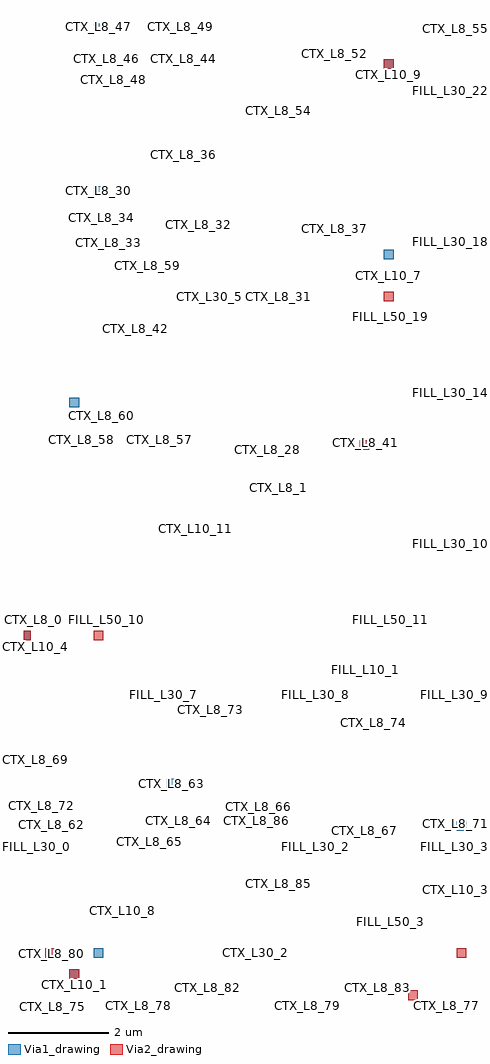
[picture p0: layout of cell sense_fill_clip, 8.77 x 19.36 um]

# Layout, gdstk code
import gdstk
lib = gdstk.Library(unit=1e-6, precision=1e-09)
def R(c, l, rs):  # rectangles x0, y0, x1, y1
    for r in rs: c.add(gdstk.rectangle(r[:2], r[2:], *l))
Via1_drawing = (19, 0)
Via2_drawing = (29, 0)

sense_fill_clip = lib.new_cell('sense_fill_clip')
R(sense_fill_clip, Via1_drawing, [(709.625,696.865,709.815,697.055), (709.145,697.285,709.335,697.475), (710.105,697.285,710.295,697.475), (717.305,699.805,717.495,699.995), (711.545,700.645,711.735,700.835), (708.72,703.585,708.855,703.775), (715.385,707.365,715.575,707.555), (709.625,708.205,709.815,708.395), (715.865,711.145,716.055,711.335), (710.105,712.405,710.295,712.595), (715.865,714.925,716.055,715.115), (710.105,715.765,710.295,715.81)])
R(sense_fill_clip, Via2_drawing, [(716.345,696.445,716.535,696.635), (709.625,696.865,709.815,697.055), (709.145,697.285,709.335,697.475), (717.305,697.285,717.495,697.475), (708.72,703.585,708.855,703.775), (710.105,703.585,710.295,703.775), (715.385,707.365,715.575,707.555), (715.865,710.305,716.055,710.495), (715.865,714.925,716.055,715.115)])
sense_fill_clip.add(gdstk.Label('CTX_L8_98', (749.36,698.06), layer=8, texttype=25))
sense_fill_clip.add(gdstk.Label('CTX_L8_105', (756.41,701.58), layer=8, texttype=25))
sense_fill_clip.add(gdstk.Label('CTX_L8_2', (737.85,705.81), layer=8, texttype=25))
sense_fill_clip.add(gdstk.Label('CTX_L8_108', (753.72,699.82), layer=8, texttype=25))
sense_fill_clip.add(gdstk.Label('CTX_L8_107', (749.36,699.82), layer=8, texttype=25))
sense_fill_clip.add(gdstk.Label('CTX_L8_102', (745,701.58), layer=8, texttype=25))
sense_fill_clip.add(gdstk.Label('CTX_L8_92', (745,696.3), layer=8, texttype=25))
sense_fill_clip.add(gdstk.Label('CTX_L8_87', (756.41,696.3), layer=8, texttype=25))
sense_fill_clip.add(gdstk.Label('CTX_L8_104', (753.72,701.58), layer=8, texttype=25))
sense_fill_clip.add(gdstk.Label('CTX_L8_90', (753.72,703.34), layer=8, texttype=25))
sense_fill_clip.add(gdstk.Label('CTX_L8_95', (753.72,705.1), layer=8, texttype=25))
sense_fill_clip.add(gdstk.Label('CTX_L8_94', (749.36,705.1), layer=8, texttype=25))
sense_fill_clip.add(gdstk.Label('CTX_L8_100', (756.41,698.06), layer=8, texttype=25))
sense_fill_clip.add(gdstk.Label('CTX_L8_82', (712.367,696.697), layer=8, texttype=25))
sense_fill_clip.add(gdstk.Label('CTX_L8_78', (710.995,696.332), layer=8, texttype=25))
sense_fill_clip.add(gdstk.Label('CTX_L8_73', (712.427,702.215), layer=8, texttype=25))
sense_fill_clip.add(gdstk.Label('CTX_L8_74', (715.662,701.952), layer=8, texttype=25))
sense_fill_clip.add(gdstk.Label('FILL_L8_4', (726.75,701.75), layer=8, texttype=25))
sense_fill_clip.add(gdstk.Label('CTX_L8_66', (713.385,700.29), layer=8, texttype=25))
sense_fill_clip.add(gdstk.Label('CTX_L8_64', (711.792,700.01), layer=8, texttype=25))
sense_fill_clip.add(gdstk.Label('CTX_L8_69', (708.877,701.212), layer=8, texttype=25))
sense_fill_clip.add(gdstk.Label('CTX_L8_72', (709.06,700.3), layer=8, texttype=25))
sense_fill_clip.add(gdstk.Label('CTX_L8_65', (711.22,699.582), layer=8, texttype=25))
sense_fill_clip.add(gdstk.Label('CTX_L8_0', (708.902,703.995), layer=8, texttype=25))
sense_fill_clip.add(gdstk.Label('CTX_L8_85', (713.78,698.75), layer=8, texttype=25))
sense_fill_clip.add(gdstk.Label('CTX_L8_63', (711.64,700.74), layer=8, texttype=25))
sense_fill_clip.add(gdstk.Label('CTX_L8_80', (709.275,697.375), layer=8, texttype=25))
sense_fill_clip.add(gdstk.Label('FILL_L8_2', (731.75,697.155), layer=8, texttype=25))
sense_fill_clip.add(gdstk.Label('FILL_L8_1', (726.75,697.155), layer=8, texttype=25))
sense_fill_clip.add(gdstk.Label('FILL_L8_0', (721.75,697.155), layer=8, texttype=25))
sense_fill_clip.add(gdstk.Label('CTX_L8_77', (717.115,696.33), layer=8, texttype=25))
sense_fill_clip.add(gdstk.Label('CTX_L8_79', (714.355,696.332), layer=8, texttype=25))
sense_fill_clip.add(gdstk.Label('CTX_L8_57', (711.41,707.57), layer=8, texttype=25))
sense_fill_clip.add(gdstk.Label('CTX_L8_60', (710.26,708.052), layer=8, texttype=25))
sense_fill_clip.add(gdstk.Label('FILL_L8_14', (731.75,715.405), layer=8, texttype=25))
sense_fill_clip.add(gdstk.Label('FILL_L8_5', (731.75,701.75), layer=8, texttype=25))
sense_fill_clip.add(gdstk.Label('FILL_L8_13', (726.75,715.405), layer=8, texttype=25))
sense_fill_clip.add(gdstk.Label('FILL_L8_12', (721.75,715.405), layer=8, texttype=25))
sense_fill_clip.add(gdstk.Label('CTX_L8_81', (710.172,697.375), layer=8, texttype=25))
sense_fill_clip.add(gdstk.Label('CTX_L8_55', (717.675,715.73), layer=8, texttype=25))
sense_fill_clip.add(gdstk.Label('CTX_L8_52', (714.885,715.217), layer=8, texttype=25))
sense_fill_clip.add(gdstk.Label('CTX_L8_37', (714.885,711.747), layer=8, texttype=25))
sense_fill_clip.add(gdstk.Label('CTX_L8_96', (756.41,705.1), layer=8, texttype=25))
sense_fill_clip.add(gdstk.Label('CTX_L8_26', (753.72,715.66), layer=8, texttype=25))
sense_fill_clip.add(gdstk.Label('CTX_L8_110', (753.72,696.3), layer=8, texttype=25))
sense_fill_clip.add(gdstk.Label('CTX_L8_13', (756.41,710.38), layer=8, texttype=25))
sense_fill_clip.add(gdstk.Label('CTX_L8_34', (710.252,711.98), layer=8, texttype=25))
sense_fill_clip.add(gdstk.Label('CTX_L8_38', (715.982,711.555), layer=8, texttype=25))
sense_fill_clip.add(gdstk.Label('CTX_L8_101', (749.36,696.3), layer=8, texttype=25))
sense_fill_clip.add(gdstk.Label('CTX_L8_59', (711.18,711.025), layer=8, texttype=25))
sense_fill_clip.add(gdstk.Label('CTX_L8_6', (745,708.62), layer=8, texttype=25))
sense_fill_clip.add(gdstk.Label('CTX_L8_83', (715.727,696.697), layer=8, texttype=25))
sense_fill_clip.add(gdstk.Label('CTX_L8_25', (749.36,715.66), layer=8, texttype=25))
sense_fill_clip.add(gdstk.Label('CTX_L8_68', (710.4,700.11), layer=8, texttype=25))
sense_fill_clip.add(gdstk.Label('CTX_L8_21', (756.41,713.9), layer=8, texttype=25))
sense_fill_clip.add(gdstk.Label('CTX_L8_24', (745,715.66), layer=8, texttype=25))
sense_fill_clip.add(gdstk.Label('CTX_L8_93', (745,705.1), layer=8, texttype=25))
sense_fill_clip.add(gdstk.Label('CTX_L8_16', (753.72,712.14), layer=8, texttype=25))
sense_fill_clip.add(gdstk.Label('CTX_L8_14', (745,712.14), layer=8, texttype=25))
sense_fill_clip.add(gdstk.Label('FILL_L8_9', (721.75,711.75), layer=8, texttype=25))
sense_fill_clip.add(gdstk.Label('CTX_L8_41', (715.492,707.51), layer=8, texttype=25))
sense_fill_clip.add(gdstk.Label('CTX_L8_47', (710.2,715.755), layer=8, texttype=25))
sense_fill_clip.add(gdstk.Label('CTX_L8_33', (710.392,711.465), layer=8, texttype=25))
sense_fill_clip.add(gdstk.Label('CTX_L8_17', (756.41,712.14), layer=8, texttype=25))
sense_fill_clip.add(gdstk.Label('CTX_L8_97', (745,698.06), layer=8, texttype=25))
sense_fill_clip.add(gdstk.Label('CTX_L8_9', (756.41,708.62), layer=8, texttype=25))
sense_fill_clip.add(gdstk.Label('CTX_L8_76', (713.755,696.33), layer=8, texttype=25))
sense_fill_clip.add(gdstk.Label('CTX_L8_23', (753.72,706.86), layer=8, texttype=25))
sense_fill_clip.add(gdstk.Label('CTX_L8_103', (749.36,701.58), layer=8, texttype=25))
sense_fill_clip.add(gdstk.Label('CTX_L8_18', (745,713.9), layer=8, texttype=25))
sense_fill_clip.add(gdstk.Label('CTX_L8_19', (749.36,713.9), layer=8, texttype=25))
sense_fill_clip.add(gdstk.Label('CTX_L8_71', (717.412,699.95), layer=8, texttype=25))
sense_fill_clip.add(gdstk.Label('CTX_L8_1', (713.78,706.617), layer=8, texttype=25))
sense_fill_clip.add(gdstk.Label('CTX_L8_44', (711.89,715.13), layer=8, texttype=25))
sense_fill_clip.add(gdstk.Label('CTX_L8_88', (745,703.34), layer=8, texttype=25))
sense_fill_clip.add(gdstk.Label('CTX_L8_7', (749.36,708.62), layer=8, texttype=25))
sense_fill_clip.add(gdstk.Label('CTX_L8_86', (713.33,700.01), layer=8, texttype=25))
sense_fill_clip.add(gdstk.Label('CTX_L8_8', (753.72,708.62), layer=8, texttype=25))
sense_fill_clip.add(gdstk.Label('CTX_L8_53', (715.972,715.29), layer=8, texttype=25))
sense_fill_clip.add(gdstk.Label('CTX_L8_20', (753.72,713.9), layer=8, texttype=25))
sense_fill_clip.add(gdstk.Label('CTX_L8_27', (756.41,715.66), layer=8, texttype=25))
sense_fill_clip.add(gdstk.Label('CTX_L8_5', (745,706.86), layer=8, texttype=25))
sense_fill_clip.add(gdstk.Label('CTX_L8_62', (709.272,699.932), layer=8, texttype=25))
sense_fill_clip.add(gdstk.Label('CTX_L8_51', (714.087,715.307), layer=8, texttype=25))
sense_fill_clip.add(gdstk.Label('CTX_L8_58', (709.872,707.57), layer=8, texttype=25))
sense_fill_clip.add(gdstk.Label('CTX_L8_10', (745,710.38), layer=8, texttype=25))
sense_fill_clip.add(gdstk.Label('CTX_L8_30', (710.2,712.5), layer=8, texttype=25))
sense_fill_clip.add(gdstk.Label('CTX_L8_11', (749.36,710.38), layer=8, texttype=25))
sense_fill_clip.add(gdstk.Label('CTX_L8_12', (753.72,710.38), layer=8, texttype=25))
sense_fill_clip.add(gdstk.Label('CTX_L8_31', (713.78,710.4), layer=8, texttype=25))
sense_fill_clip.add(gdstk.Label('CTX_L8_61', (711.465,707.85), layer=8, texttype=25))
sense_fill_clip.add(gdstk.Label('FILL_L8_11', (731.75,711.75), layer=8, texttype=25))
sense_fill_clip.add(gdstk.Label('CTX_L8_75', (709.29,696.325), layer=8, texttype=25))
sense_fill_clip.add(gdstk.Label('FILL_L8_6', (721.75,706.75), layer=8, texttype=25))
sense_fill_clip.add(gdstk.Label('FILL_L8_7', (726.75,706.75), layer=8, texttype=25))
sense_fill_clip.add(gdstk.Label('CTX_L8_84', (710.17,696.262), layer=8, texttype=25))
sense_fill_clip.add(gdstk.Label('FILL_L8_8', (731.75,706.75), layer=8, texttype=25))
sense_fill_clip.add(gdstk.Label('CTX_L8_91', (756.41,703.34), layer=8, texttype=25))
sense_fill_clip.add(gdstk.Label('CTX_L8_46', (710.352,715.13), layer=8, texttype=25))
sense_fill_clip.add(gdstk.Label('CTX_L8_56', (709.72,708.3), layer=8, texttype=25))
sense_fill_clip.add(gdstk.Label('CTX_L8_106', (745,699.82), layer=8, texttype=25))
sense_fill_clip.add(gdstk.Label('CTX_L8_89', (749.36,703.34), layer=8, texttype=25))
sense_fill_clip.add(gdstk.Label('CTX_L8_40', (714.405,707.657), layer=8, texttype=25))
sense_fill_clip.add(gdstk.Label('CTX_L8_48', (710.5,714.702), layer=8, texttype=25))
sense_fill_clip.add(gdstk.Label('CTX_L8_39', (711.32,712.105), layer=8, texttype=25))
sense_fill_clip.add(gdstk.Label('CTX_L8_67', (715.475,699.815), layer=8, texttype=25))
sense_fill_clip.add(gdstk.Label('CTX_L8_4', (756.41,706.86), layer=8, texttype=25))
sense_fill_clip.add(gdstk.Label('CTX_L8_36', (711.89,713.23), layer=8, texttype=25))
sense_fill_clip.add(gdstk.Label('CTX_L8_28', (713.555,707.375), layer=8, texttype=25))
sense_fill_clip.add(gdstk.Label('CTX_L8_29', (711.357,708.275), layer=8, texttype=25))
sense_fill_clip.add(gdstk.Label('CTX_L8_32', (712.192,711.825), layer=8, texttype=25))
sense_fill_clip.add(gdstk.Label('CTX_L8_70', (716.325,700.097), layer=8, texttype=25))
sense_fill_clip.add(gdstk.Label('CTX_L8_54', (713.78,714.092), layer=8, texttype=25))
sense_fill_clip.add(gdstk.Label('CTX_L8_35', (713.68,711.922), layer=8, texttype=25))
sense_fill_clip.add(gdstk.Label('CTX_L8_43', (708.767,707.67), layer=8, texttype=25))
sense_fill_clip.add(gdstk.Label('CTX_L8_3', (741.35,705.81), layer=8, texttype=25))
sense_fill_clip.add(gdstk.Label('CTX_L8_42', (710.94,709.775), layer=8, texttype=25))
sense_fill_clip.add(gdstk.Label('CTX_L8_109', (756.41,699.82), layer=8, texttype=25))
sense_fill_clip.add(gdstk.Label('CTX_L8_45', (709.007,715.23), layer=8, texttype=25))
sense_fill_clip.add(gdstk.Label('FILL_L8_3', (721.75,701.75), layer=8, texttype=25))
sense_fill_clip.add(gdstk.Label('CTX_L8_15', (749.36,712.14), layer=8, texttype=25))
sense_fill_clip.add(gdstk.Label('CTX_L8_22', (749.36,706.86), layer=8, texttype=25))
sense_fill_clip.add(gdstk.Label('FILL_L8_10', (726.75,711.75), layer=8, texttype=25))
sense_fill_clip.add(gdstk.Label('CTX_L8_49', (711.837,715.757), layer=8, texttype=25))
sense_fill_clip.add(gdstk.Label('CTX_L8_99', (753.72,698.06), layer=8, texttype=25))
sense_fill_clip.add(gdstk.Label('CTX_L8_50', (712.695,715.567), layer=8, texttype=25))
sense_fill_clip.add(gdstk.Label('FILL_L10_11', (721.75,715.405), layer=10, texttype=25))
sense_fill_clip.add(gdstk.Label('CTX_L10_9', (715.96,714.807), layer=10, texttype=25))
sense_fill_clip.add(gdstk.Label('CTX_L10_6', (715.48,707.247), layer=10, texttype=25))
sense_fill_clip.add(gdstk.Label('FILL_L10_2', (718,703), layer=10, texttype=25))
sense_fill_clip.add(gdstk.Label('CTX_L10_17', (732.48,705.81), layer=10, texttype=25))
sense_fill_clip.add(gdstk.Label('CTX_L10_11', (712.12,705.81), layer=10, texttype=25))
sense_fill_clip.add(gdstk.Label('CTX_L10_12', (713.56,705.81), layer=10, texttype=25))
sense_fill_clip.add(gdstk.Label('FILL_L10_1', (715.5,703), layer=10, texttype=25))
sense_fill_clip.add(gdstk.Label('CTX_L10_3', (717.4,698.64), layer=10, texttype=25))
sense_fill_clip.add(gdstk.Label('CTX_L10_8', (710.68,698.225), layer=10, texttype=25))
sense_fill_clip.add(gdstk.Label('CTX_L10_0', (716.44,696.247), layer=10, texttype=25))
sense_fill_clip.add(gdstk.Label('FILL_L10_5', (718,708), layer=10, texttype=25))
sense_fill_clip.add(gdstk.Label('FILL_L10_0', (721.75,697.155), layer=10, texttype=25))
sense_fill_clip.add(gdstk.Label('CTX_L10_7', (715.96,710.82), layer=10, texttype=25))
sense_fill_clip.add(gdstk.Label('CTX_L10_5', (710.2,700.53), layer=10, texttype=25))
sense_fill_clip.add(gdstk.Label('CTX_L10_15', (731.52,705.81), layer=10, texttype=25))
sense_fill_clip.add(gdstk.Label('FILL_L10_9', (721.75,711.75), layer=10, texttype=25))
sense_fill_clip.add(gdstk.Label('FILL_L10_3', (721.75,701.75), layer=10, texttype=25))
sense_fill_clip.add(gdstk.Label('CTX_L10_1', (709.72,696.747), layer=10, texttype=25))
sense_fill_clip.add(gdstk.Label('CTX_L10_18', (735.36,705.81), layer=10, texttype=25))
sense_fill_clip.add(gdstk.Label('FILL_L10_6', (721.75,706.75), layer=10, texttype=25))
sense_fill_clip.add(gdstk.Label('CTX_L10_4', (708.792,703.467), layer=10, texttype=25))
sense_fill_clip.add(gdstk.Label('FILL_L10_4', (718,705.5), layer=10, texttype=25))
sense_fill_clip.add(gdstk.Label('CTX_L10_13', (727.2,705.81), layer=10, texttype=25))
sense_fill_clip.add(gdstk.Label('CTX_L10_14', (730.56,705.81), layer=10, texttype=25))
sense_fill_clip.add(gdstk.Label('FILL_L10_10', (718,715.405), layer=10, texttype=25))
sense_fill_clip.add(gdstk.Label('CTX_L10_16', (732,705.81), layer=10, texttype=25))
sense_fill_clip.add(gdstk.Label('CTX_L10_10', (709.96,715.762), layer=10, texttype=25))
sense_fill_clip.add(gdstk.Label('CTX_L10_19', (736.32,705.81), layer=10, texttype=25))
sense_fill_clip.add(gdstk.Label('CTX_L10_2', (709.24,697.167), layer=10, texttype=25))
sense_fill_clip.add(gdstk.Label('FILL_L10_7', (718,710.5), layer=10, texttype=25))
sense_fill_clip.add(gdstk.Label('FILL_L10_8', (718,713), layer=10, texttype=25))
sense_fill_clip.add(gdstk.Label('FILL_L30_24', (728,714.905), layer=30, texttype=25))
sense_fill_clip.add(gdstk.Label('FILL_L30_23', (722,714.905), layer=30, texttype=25))
sense_fill_clip.add(gdstk.Label('CTX_L30_6', (712.412,715.02), layer=30, texttype=25))
sense_fill_clip.add(gdstk.Label('FILL_L30_7', (711.5,702.5), layer=30, texttype=25))
sense_fill_clip.add(gdstk.Label('FILL_L30_6', (734,698), layer=30, texttype=25))
sense_fill_clip.add(gdstk.Label('FILL_L30_3', (717.5,699.5), layer=30, texttype=25))
sense_fill_clip.add(gdstk.Label('FILL_L30_5', (728,698), layer=30, texttype=25))
sense_fill_clip.add(gdstk.Label('FILL_L30_8', (714.5,702.5), layer=30, texttype=25))
sense_fill_clip.add(gdstk.Label('FILL_L30_22', (717.5,714.5), layer=30, texttype=25))
sense_fill_clip.add(gdstk.Label('FILL_L30_4', (722,698), layer=30, texttype=25))
sense_fill_clip.add(gdstk.Label('FILL_L30_10', (717.5,705.5), layer=30, texttype=25))
sense_fill_clip.add(gdstk.Label('FILL_L30_18', (717.5,711.5), layer=30, texttype=25))
sense_fill_clip.add(gdstk.Label('FILL_L30_2', (714.5,699.5), layer=30, texttype=25))
sense_fill_clip.add(gdstk.Label('FILL_L30_17', (714.5,711.5), layer=30, texttype=25))
sense_fill_clip.add(gdstk.Label('FILL_L30_1', (711.5,699.5), layer=30, texttype=25))
sense_fill_clip.add(gdstk.Label('FILL_L30_12', (728,704), layer=30, texttype=25))
sense_fill_clip.add(gdstk.Label('FILL_L30_16', (711.5,711.5), layer=30, texttype=25))
sense_fill_clip.add(gdstk.Label('CTX_L30_2', (713.32,697.38), layer=30, texttype=25))
sense_fill_clip.add(gdstk.Label('FILL_L30_25', (734,714.905), layer=30, texttype=25))
sense_fill_clip.add(gdstk.Label('CTX_L30_3', (709.532,703.68), layer=30, texttype=25))
sense_fill_clip.add(gdstk.Label('CTX_L30_0', (712.652,696.54), layer=30, texttype=25))
sense_fill_clip.add(gdstk.Label('FILL_L30_0', (708.86,699.5), layer=30, texttype=25))
sense_fill_clip.add(gdstk.Label('CTX_L30_1', (709.292,696.96), layer=30, texttype=25))
sense_fill_clip.add(gdstk.Label('FILL_L30_20', (728,710), layer=30, texttype=25))
sense_fill_clip.add(gdstk.Label('FILL_L30_9', (717.5,702.5), layer=30, texttype=25))
sense_fill_clip.add(gdstk.Label('FILL_L30_11', (722,704), layer=30, texttype=25))
sense_fill_clip.add(gdstk.Label('FILL_L30_13', (734,704), layer=30, texttype=25))
sense_fill_clip.add(gdstk.Label('CTX_L30_4', (712.172,707.46), layer=30, texttype=25))
sense_fill_clip.add(gdstk.Label('CTX_L30_5', (712.412,710.4), layer=30, texttype=25))
sense_fill_clip.add(gdstk.Label('FILL_L30_14', (717.5,708.5), layer=30, texttype=25))
sense_fill_clip.add(gdstk.Label('FILL_L30_19', (722,710), layer=30, texttype=25))
sense_fill_clip.add(gdstk.Label('FILL_L30_15', (708.86,711.5), layer=30, texttype=25))
sense_fill_clip.add(gdstk.Label('FILL_L30_21', (734,710), layer=30, texttype=25))
sense_fill_clip.add(gdstk.Label('FILL_L50_29', (756.36,714.905), layer=50, texttype=25))
sense_fill_clip.add(gdstk.Label('FILL_L50_23', (756.36,710), layer=50, texttype=25))
sense_fill_clip.add(gdstk.Label('FILL_L50_28', (752,714.905), layer=50, texttype=25))
sense_fill_clip.add(gdstk.Label('FILL_L50_17', (747.5,708.5), layer=50, texttype=25))
sense_fill_clip.add(gdstk.Label('FILL_L50_13', (747.5,705.5), layer=50, texttype=25))
sense_fill_clip.add(gdstk.Label('CTX_L50_21', (739.2,705.81), layer=50, texttype=25))
sense_fill_clip.add(gdstk.Label('CTX_L50_20', (737.76,705.81), layer=50, texttype=25))
sense_fill_clip.add(gdstk.Label('FILL_L50_26', (710.36,714.905), layer=50, texttype=25))
sense_fill_clip.add(gdstk.Label('CTX_L50_19', (736.8,705.81), layer=50, texttype=25))
sense_fill_clip.add(gdstk.Label('FILL_L50_20', (720.5,711.5), layer=50, texttype=25))
sense_fill_clip.add(gdstk.Label('CTX_L50_16', (734.4,705.81), layer=50, texttype=25))
sense_fill_clip.add(gdstk.Label('FILL_L50_25', (747.5,714.5), layer=50, texttype=25))
sense_fill_clip.add(gdstk.Label('CTX_L50_14', (733.44,705.81), layer=50, texttype=25))
sense_fill_clip.add(gdstk.Label('FILL_L50_11', (716,704), layer=50, texttype=25))
sense_fill_clip.add(gdstk.Label('FILL_L50_24', (720.5,714.5), layer=50, texttype=25))
sense_fill_clip.add(gdstk.Label('FILL_L50_16', (720.5,708.5), layer=50, texttype=25))
sense_fill_clip.add(gdstk.Label('CTX_L50_17', (735.84,705.81), layer=50, texttype=25))
sense_fill_clip.add(gdstk.Label('FILL_L50_9', (747.5,702.5), layer=50, texttype=25))
sense_fill_clip.add(gdstk.Label('FILL_L50_7', (756.36,698), layer=50, texttype=25))
sense_fill_clip.add(gdstk.Label('FILL_L50_22', (752,710), layer=50, texttype=25))
sense_fill_clip.add(gdstk.Label('FILL_L50_5', (747.5,699.5), layer=50, texttype=25))
sense_fill_clip.add(gdstk.Label('FILL_L50_21', (747.5,711.5), layer=50, texttype=25))
sense_fill_clip.add(gdstk.Label('FILL_L50_4', (720.5,699.5), layer=50, texttype=25))
sense_fill_clip.add(gdstk.Label('FILL_L50_19', (716,710), layer=50, texttype=25))
sense_fill_clip.add(gdstk.Label('FILL_L50_14', (752,704), layer=50, texttype=25))
sense_fill_clip.add(gdstk.Label('FILL_L50_2', (710.36,698), layer=50, texttype=25))
sense_fill_clip.add(gdstk.Label('FILL_L50_8', (720.5,702.5), layer=50, texttype=25))
sense_fill_clip.add(gdstk.Label('CTX_L50_18', (736.32,705.81), layer=50, texttype=25))
sense_fill_clip.add(gdstk.Label('FILL_L50_1', (747.5,696.5), layer=50, texttype=25))
sense_fill_clip.add(gdstk.Label('FILL_L50_0', (720.5,696.5), layer=50, texttype=25))
sense_fill_clip.add(gdstk.Label('CTX_L50_11', (731.52,705.81), layer=50, texttype=25))
sense_fill_clip.add(gdstk.Label('P', (732.96,705.81), layer=50, texttype=25))
sense_fill_clip.add(gdstk.Label('FILL_L50_15', (756.36,704), layer=50, texttype=25))
sense_fill_clip.add(gdstk.Label('FILL_L50_12', (720.5,705.5), layer=50, texttype=25))
sense_fill_clip.add(gdstk.Label('CTX_L50_15', (733.92,705.81), layer=50, texttype=25))
sense_fill_clip.add(gdstk.Label('CTX_L50_0', (723.84,705.81), layer=50, texttype=25))
sense_fill_clip.add(gdstk.Label('CTX_L50_1', (724.32,705.81), layer=50, texttype=25))
sense_fill_clip.add(gdstk.Label('FILL_L50_6', (752,698), layer=50, texttype=25))
sense_fill_clip.add(gdstk.Label('CTX_L50_2', (724.8,705.81), layer=50, texttype=25))
sense_fill_clip.add(gdstk.Label('FILL_L50_18', (710.36,710), layer=50, texttype=25))
sense_fill_clip.add(gdstk.Label('FILL_L50_3', (716,698), layer=50, texttype=25))
sense_fill_clip.add(gdstk.Label('CTX_L50_3', (725.28,705.81), layer=50, texttype=25))
sense_fill_clip.add(gdstk.Label('CTX_L50_4', (725.76,705.81), layer=50, texttype=25))
sense_fill_clip.add(gdstk.Label('CTX_L50_5', (726.24,705.81), layer=50, texttype=25))
sense_fill_clip.add(gdstk.Label('FILL_L50_10', (710.36,704), layer=50, texttype=25))
sense_fill_clip.add(gdstk.Label('CTX_L50_6', (727.68,705.81), layer=50, texttype=25))
sense_fill_clip.add(gdstk.Label('CTX_L50_22', (744.5,705.81), layer=50, texttype=25))
sense_fill_clip.add(gdstk.Label('CTX_L50_8', (730.08,705.81), layer=50, texttype=25))
sense_fill_clip.add(gdstk.Label('FILL_L50_27', (716,714.905), layer=50, texttype=25))
sense_fill_clip.add(gdstk.Label('CTX_L50_9', (730.56,705.81), layer=50, texttype=25))
sense_fill_clip.add(gdstk.Label('CTX_L50_7', (728.64,705.81), layer=50, texttype=25))
sense_fill_clip.add(gdstk.Label('CTX_L50_10', (731.04,705.81), layer=50, texttype=25))
sense_fill_clip.add(gdstk.Label('N', (732.48,705.81), layer=50, texttype=25))
sense_fill_clip.add(gdstk.Label('FILL_L67_35', (756.36,714.905), layer=67, texttype=25))
sense_fill_clip.add(gdstk.Label('FILL_L67_34', (752,714.905), layer=67, texttype=25))
sense_fill_clip.add(gdstk.Label('FILL_L67_33', (746,714.905), layer=67, texttype=25))
sense_fill_clip.add(gdstk.Label('FILL_L67_29', (722,714.905), layer=67, texttype=25))
sense_fill_clip.add(gdstk.Label('FILL_L67_10', (716,704), layer=67, texttype=25))
sense_fill_clip.add(gdstk.Label('FILL_L67_8', (756.36,698), layer=67, texttype=25))
sense_fill_clip.add(gdstk.Label('FILL_L67_12', (728,704), layer=67, texttype=25))
sense_fill_clip.add(gdstk.Label('FILL_L67_6', (746,698), layer=67, texttype=25))
sense_fill_clip.add(gdstk.Label('FILL_L67_26', (756.36,710), layer=67, texttype=25))
sense_fill_clip.add(gdstk.Label('FILL_L67_9', (710.36,704), layer=67, texttype=25))
sense_fill_clip.add(gdstk.Label('FILL_L67_31', (734,714.905), layer=67, texttype=25))
sense_fill_clip.add(gdstk.Label('FILL_L67_1', (716,698), layer=67, texttype=25))
sense_fill_clip.add(gdstk.Label('FILL_L67_4', (734,698), layer=67, texttype=25))
sense_fill_clip.add(gdstk.Label('FILL_L67_0', (710.36,698), layer=67, texttype=25))
sense_fill_clip.add(gdstk.Label('FILL_L67_13', (734,704), layer=67, texttype=25))
sense_fill_clip.add(gdstk.Label('FILL_L67_14', (740,704), layer=67, texttype=25))
sense_fill_clip.add(gdstk.Label('FILL_L67_28', (716,714.905), layer=67, texttype=25))
sense_fill_clip.add(gdstk.Label('FILL_L67_16', (752,704), layer=67, texttype=25))
sense_fill_clip.add(gdstk.Label('FILL_L67_17', (756.36,704), layer=67, texttype=25))
sense_fill_clip.add(gdstk.Label('FILL_L67_19', (716,710), layer=67, texttype=25))
sense_fill_clip.add(gdstk.Label('FILL_L67_18', (710.36,710), layer=67, texttype=25))
sense_fill_clip.add(gdstk.Label('FILL_L67_2', (722,698), layer=67, texttype=25))
sense_fill_clip.add(gdstk.Label('FILL_L67_22', (734,710), layer=67, texttype=25))
sense_fill_clip.add(gdstk.Label('FILL_L67_30', (728,714.905), layer=67, texttype=25))
sense_fill_clip.add(gdstk.Label('FILL_L67_11', (722,704), layer=67, texttype=25))
sense_fill_clip.add(gdstk.Label('FILL_L67_7', (752,698), layer=67, texttype=25))
sense_fill_clip.add(gdstk.Label('FILL_L67_20', (722,710), layer=67, texttype=25))
sense_fill_clip.add(gdstk.Label('FILL_L67_3', (728,698), layer=67, texttype=25))
sense_fill_clip.add(gdstk.Label('FILL_L67_15', (746,704), layer=67, texttype=25))
sense_fill_clip.add(gdstk.Label('FILL_L67_21', (728,710), layer=67, texttype=25))
sense_fill_clip.add(gdstk.Label('FILL_L67_23', (740,710), layer=67, texttype=25))
sense_fill_clip.add(gdstk.Label('FILL_L67_24', (746,710), layer=67, texttype=25))
sense_fill_clip.add(gdstk.Label('FILL_L67_27', (710.36,714.905), layer=67, texttype=25))
sense_fill_clip.add(gdstk.Label('FILL_L67_32', (740,714.905), layer=67, texttype=25))
sense_fill_clip.add(gdstk.Label('FILL_L67_5', (740,698), layer=67, texttype=25))
sense_fill_clip.add(gdstk.Label('FILL_L67_25', (752,710), layer=67, texttype=25))
sense_fill_clip.add(gdstk.Label('CTX_L126_2', (736.36,705.81), layer=126, texttype=25))
sense_fill_clip.add(gdstk.Label('CTX_L126_3', (755.77,705.81), layer=126, texttype=25))
sense_fill_clip.add(gdstk.Label('CTX_L126_1', (729.8,705.81), layer=126, texttype=25))
sense_fill_clip.add(gdstk.Label('CTX_L126_0', (719.22,705.81), layer=126, texttype=25))

lib.write_gds('sense_fill_clip.gds')
